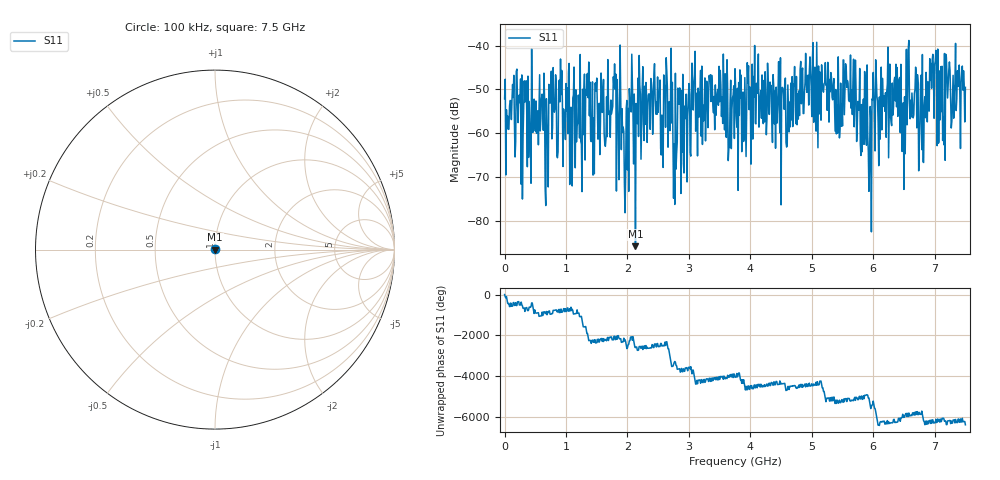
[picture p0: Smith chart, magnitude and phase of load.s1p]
# Hz S RI R 50.000000
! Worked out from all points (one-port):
!   751 points, 100 kHz to 7.5 GHz, reference 50 ohm
!   lowest |S11| = -85.9 dB at 2.13 GHz (marker M1), VSWR 1.00, Z = 50 - j0.005 ohm
!   |S11| at or under -10 dB: start of sweep to end of sweep
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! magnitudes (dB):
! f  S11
! 100 kHz  -52.1
! 620.1 MHz  -51.6
! 680.1 MHz  -52.1
! 760.1 MHz  -45.8
! 940.1 MHz  -52.5
! 1.88 GHz  -39.8
! 1.99 GHz  -52.5
! 2.06 GHz  -55.2
! 2.13 GHz  -85.9
! 2.41 GHz  -60.2
! 2.55 GHz  -65.0
! 2.62 GHz  -58.7
! 2.77 GHz  -76.3
! 2.82 GHz  -49.7
! 3.75 GHz  -45.3
! 4.69 GHz  -58.5
! 5.63 GHz  -42.1
! 5.87 GHz  -48.1
! 5.94 GHz  -67.6
! 6.02 GHz  -56.4
! 6.4 GHz  -56.2
! 6.49 GHz  -53.0
! 6.57 GHz  -40.8
! 6.82 GHz  -66.7
! 6.95 GHz  -49.7
! 7.14 GHz  -56.4
! 7.21 GHz  -52.0
! 7.5 GHz  -49.5
